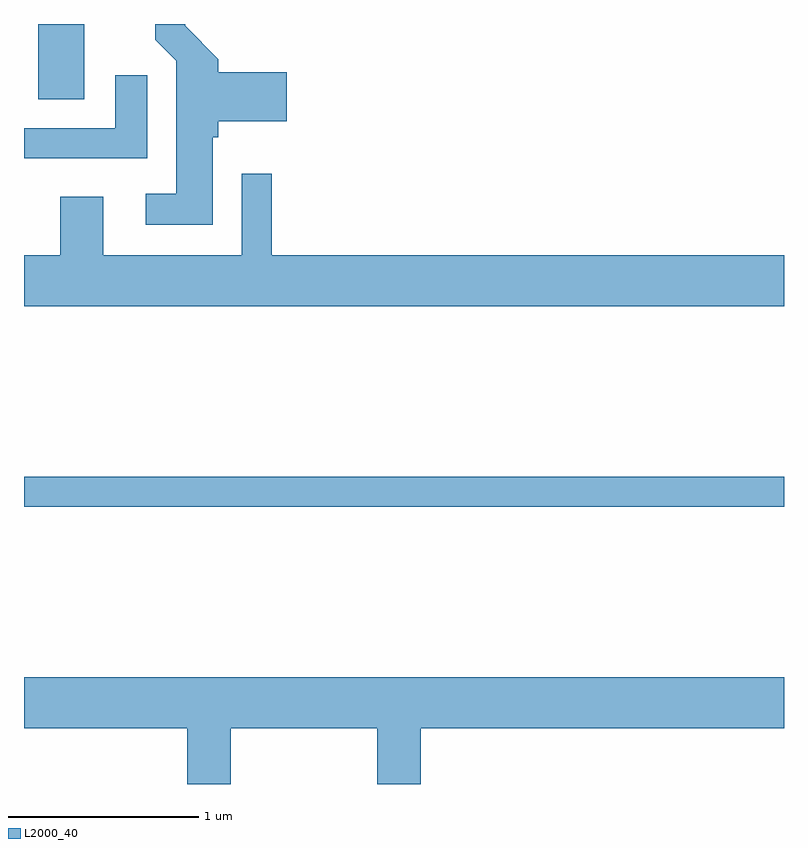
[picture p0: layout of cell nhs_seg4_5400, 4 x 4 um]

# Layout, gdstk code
import gdstk
lib = gdstk.Library(unit=1e-6, precision=1e-09)
def R(c, l, rs):  # rectangles x0, y0, x1, y1
    for r in rs: c.add(gdstk.rectangle(r[:2], r[2:], *l))
def P(c, l, *ps):  # polygons
    for p in ps: c.add(gdstk.Polygon(p, *l))
L2000_40 = (2000, 40)

nhs_seg4_5400 = lib.new_cell('nhs_seg4_5400')
R(nhs_seg4_5400, L2000_40, [(343.611,1311.441,347.611,1311.599), (343.686,1313.586,343.929,1313.982)])
P(nhs_seg4_5400, L2000_40, [(344.604,1313.386),(344.634,1313.386),(344.634,1313.471),(344.994,1313.471),(344.994,1313.729),(344.634,1313.729),(344.634,1313.797),(344.459,1313.972),(344.459,1313.982),(344.301,1313.982),(344.301,1313.899),(344.411,1313.789),(344.411,1313.089),(344.253,1313.089),(344.253,1312.926),(344.604,1312.926)],
  [(344.259,1313.713),(344.091,1313.713),(344.091,1313.434),(343.611,1313.434),(343.611,1313.276),(344.259,1313.276)],
  [(347.611,1312.764),(344.914,1312.764),(344.914,1313.193),(344.756,1313.193),(344.756,1312.764),(344.029,1312.764),(344.029,1313.074),(343.801,1313.074),(343.801,1312.764),(343.611,1312.764),(343.611,1312.496),(347.611,1312.496)],
  [(344.699,1310.276),(345.471,1310.276),(345.471,1309.982),(345.699,1309.982),(345.699,1310.276),(347.611,1310.276),(347.611,1310.544),(343.611,1310.544),(343.611,1310.276),(344.471,1310.276),(344.471,1309.982),(344.699,1309.982)])

lib.write_gds('nhs_seg4_5400.gds')
